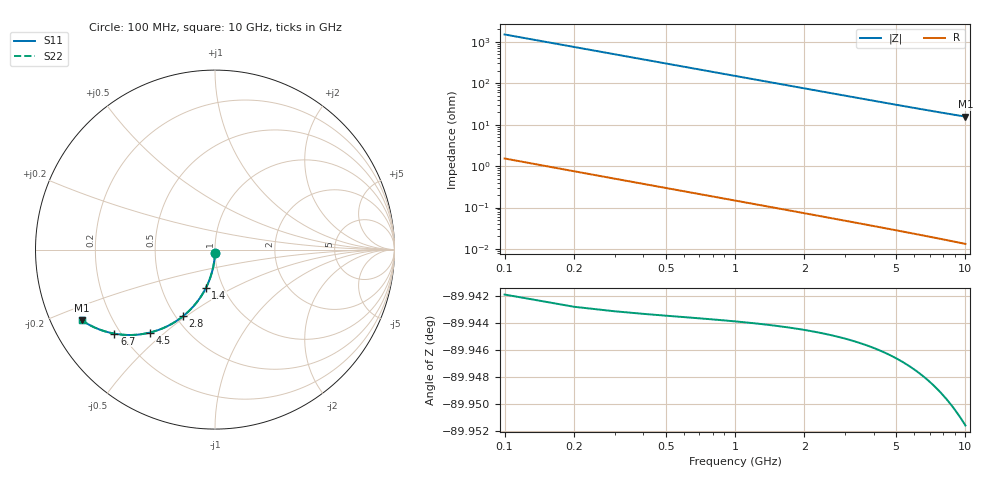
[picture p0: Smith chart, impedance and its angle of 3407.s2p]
# Hz S RI R 50.00
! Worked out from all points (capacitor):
!   100 points, 100 MHz to 10 GHz, reference 50 ohm
!   read as one part in shunt: C = 1.06 pF near 100 MHz
!   lowest |Z| = 15.7 ohm at 10 GHz (marker M1)
!   S11 on the Smith chart (normalised r, x): 100 MHz: 1.00, -0.03; 1.4 GHz: 0.83, -0.37; 2.8 GHz: 0.54, -0.49; 4.5 GHz: 0.32, -0.45; 6.7 GHz: 0.18, -0.35; 10 GHz: 0.09, -0.25
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1e8  -0.00022 -0.0162  0.9996 -0.017  0.9996 -0.017  -0.00022 -0.0162
2e8  -0.00106 -0.0324  0.9988 -0.034  0.9988 -0.034  -0.00106 -0.0324
3e8  -0.00245 -0.0485  0.9974 -0.0509  0.9974 -0.0509  -0.00245 -0.0485
4e8  -0.00438 -0.0646  0.9955 -0.0677  0.9955 -0.0677  -0.00438 -0.0646
5e8  -0.00686 -0.0805  0.993 -0.0845  0.993 -0.0845  -0.00686 -0.0805
6e8  -0.00986 -0.0963  0.99 -0.1011  0.99 -0.1011  -0.00986 -0.0963
7e8  -0.0134 -0.112  0.9865 -0.1175  0.9865 -0.1175  -0.0134 -0.112
9e8  -0.0219 -0.1427  0.9779 -0.1499  0.9779 -0.1499  -0.0219 -0.1427
1.1e9  -0.0324 -0.1725  0.9674 -0.1813  0.9674 -0.1813  -0.0324 -0.1725
1.4e9  -0.0515 -0.2152  0.9483 -0.2264  0.9483 -0.2264  -0.0515 -0.2152
1.8e9  -0.0825 -0.2676  0.9173 -0.282  0.9173 -0.282  -0.0825 -0.2676
2.3e9  -0.1281 -0.3247  0.8716 -0.3431  0.8716 -0.3431  -0.1281 -0.3247
2.8e9  -0.1791 -0.3718  0.8205 -0.3943  0.8205 -0.3943  -0.1791 -0.3718
3.4e9  -0.2438 -0.4153  0.7557 -0.4427  0.7557 -0.4427  -0.2438 -0.4153
3.9e9  -0.2983 -0.4414  0.701 -0.4729  0.701 -0.4729  -0.2983 -0.4414
4.5e9  -0.3621 -0.462  0.637 -0.4985  0.637 -0.4985  -0.3621 -0.462
5.1e9  -0.4225 -0.4728  0.5765 -0.5143  0.5765 -0.5143  -0.4225 -0.4728
5.8e9  -0.4871 -0.4756  0.5116 -0.523  0.5116 -0.523  -0.4871 -0.4756
6.7e9  -0.5603 -0.4682  0.438 -0.5233  0.438 -0.5233  -0.5603 -0.4682
7.5e9  -0.6161 -0.4546  0.3818 -0.5166  0.3818 -0.5166  -0.6161 -0.4546
8.4e9  -0.6694 -0.4345  0.3279 -0.5044  0.3279 -0.5044  -0.6694 -0.4345
1e10  -0.7437 -0.3929  0.2526 -0.4772  0.2526 -0.4772  -0.7437 -0.3929
